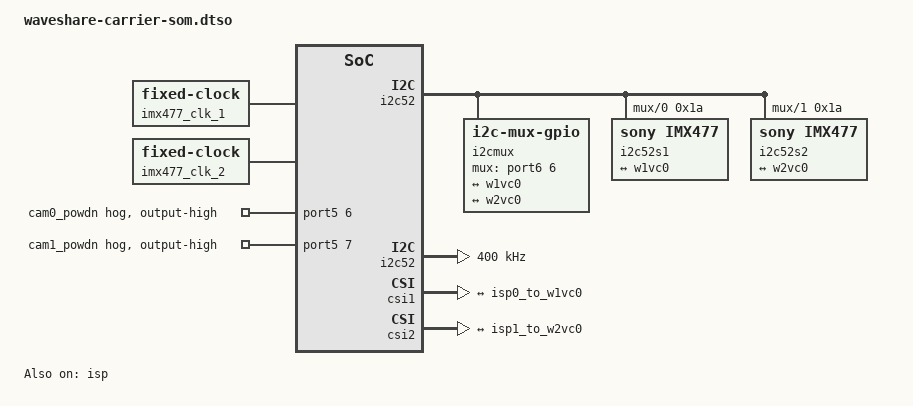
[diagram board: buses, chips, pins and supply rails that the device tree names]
// SPDX-License-Identifier: (GPL-2.0+ OR MIT)
/*
 * Copyright (c) 2025 SiMa ai
 */

/dts-v1/;
/plugin/;

&port5 {
    cam-hog0 {
        gpio-hog;
        /* Set port5 gpio6 to GPIO_ACTIVE_HIGH mode */
        gpios = <6 0>;
        output-high;
        line-name = "cam0_powdn";
    };
};

&port5 {
    cam-hog1 {
        gpio-hog;
        /* Set port5 gpio7 to GPIO_ACTIVE_HIGH mode */
        gpios = <7 0>;
        output-high;
        line-name = "cam1_powdn";
    };
};

&i2c52 {
    status = "okay";
    clock-frequency = <400000>;
    #address-cells = <1>;
    #size-cells = <0>;
};

/ {
    fragment@0 {
        target-path = "/"; /* Root node of the base tree */
        __overlay__ {
            imx477_clk_1: csi1_camera-clk {
                compatible = "fixed-clock";
                #clock-cells = <0>;
                clock-frequency = <24000000>;
            };
        };
    };
    fragment@11 {
        target-path = "/"; /* Root node of the base tree */
        __overlay__ {
            imx477_clk_2: csi2_camera-clk {
                compatible = "fixed-clock";
                #clock-cells = <0>;
                clock-frequency = <24000000>;
            };
        };
    };
    fragment@12 {
        target-path = "/"; /* Root node of the base tree */
        __overlay__ {
        i2cmux {
              compatible = "i2c-mux-gpio";
              i2c-parent = <&i2c52>;
              #address-cells = <1>;
              #size-cells = <0>;
              /* Set port6 gpio6 to GPIO_ACTIVE_LOW mode */
              mux-gpios = <&port6 6 0>;
        i2c@0 {
            reg = <0>;
            #address-cells = <1>;
            #size-cells = <0>;

            i2c52s1: sensor@1a {
                compatible = "sony,imx477";
                reg = <0x1a>;
                clocks = <&imx477_clk_1>;
                clock-names = "xclk";

                i2c52p1: port@1 {
                    camera_1: endpoint@0 {
                        remote-endpoint = <&w1vc0>;
                        data-lanes = <1 2>;
                        clock-lanes = <0>;
                        clock-continuous;
                        link-frequencies = /bits/ 64 <450000000>;
                    };
                };
            };
        };
        i2c@1 {
            reg = <1>;
            #address-cells = <1>;
            #size-cells = <0>;

            i2c52s2: sensor@1a {
                compatible = "sony,imx477";
                reg = <0x1a>;
                clocks = <&imx477_clk_2>;
                clock-names = "xclk";

                i2c52p2: port@1 {
                    camera_2: endpoint@0 {
                        remote-endpoint = <&w2vc0>;
                        data-lanes = <1 2>;
                        clock-lanes = <0>;
                        clock-continuous;
                        link-frequencies = /bits/ 64 <450000000>;
                     };
                  };
               };
            };
         };
      };
   };
};

&mipi_dphy_rx1 {
	snps,dphy-frequency = <450000000>;
};

&axi_vdma_vis1 { status = "okay"; };

&csi1 {
    status = "okay";
    isp-connected = <1>;
        csi1p0: port@1 {
            reg = <1>;
                w1vc0_to_isp0: endpoint@1 {
                    remote-endpoint = <&isp0_to_w1vc0>;
                    data-lanes = <1 2>;
                    clock-lanes = <1>;
                    clock-continuous;
                    link-frequencies = /bits/ 64 <450000000>;
                               };
                };
};

&isp {
    status = "okay";
        ports {
            #address-cells = <1>;
            #size-cells = <0>;
                isp0p0: port@1 {
                    reg = <0>;
                        isp0_to_w1vc0: endpoint@0 {
                            remote-endpoint = <&w1vc0_to_isp0>;
                            dma-index = <1>;
                                       };
                        w1vc0: endpoint@1 {
                            remote-endpoint = <&camera_1>;
                            sensor-id = <1>;
                               };
                        };
        };
};

&mipi_dphy_rx2 {
	snps,dphy-frequency = <450000000>;
};

&axi_vdma_vis2 { status = "okay"; };

&csi2 {
    status = "okay";
    isp-connected = <1>;
        csi2p0: port@1 {
            reg = <1>;
                w2vc0_to_isp1: endpoint@1 {
                    remote-endpoint = <&isp1_to_w2vc0>;
                    data-lanes = <1 2>;
                    clock-lanes = <1>;
                    clock-continuous;
                    link-frequencies = /bits/ 64 <450000000>;
                               };
                };
};

&isp {
    status = "okay";
        ports {
            #address-cells = <1>;
            #size-cells = <0>;
                isp1p0: port@2 {
                    reg = <1>;
                        isp1_to_w2vc0: endpoint@0 {
                            remote-endpoint = <&w2vc0_to_isp1>;
                            dma-index = <2>;
                                       };
                        w2vc0: endpoint@1 {
                            remote-endpoint = <&camera_2>;
                            sensor-id = <1>;
                               };
                        };
        };
};
